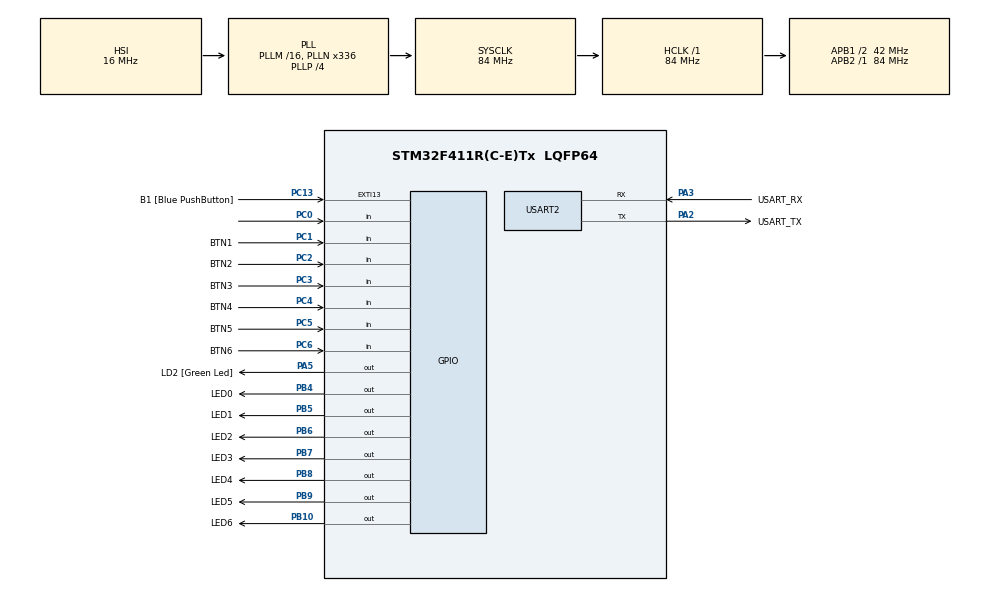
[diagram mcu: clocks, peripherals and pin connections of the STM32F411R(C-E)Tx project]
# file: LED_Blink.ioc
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Mcu.Family=STM32F4
Mcu.Name=STM32F411R(C-E)Tx
Mcu.Package=LQFP64
NVIC.PriorityGroup=NVIC_PRIORITYGROUP_0
PA13.GPIO_Label=TMS
PA13.Mode=Serial_Wire
PA13.Signal=SYS_JTMS-SWDIO
PA14.GPIO_Label=TCK
PA14.Mode=Serial_Wire
PA14.Signal=SYS_JTCK-SWCLK
PA2.GPIO_Label=USART_TX
PA2.Mode=Asynchronous
PA2.Signal=USART2_TX
PA3.GPIO_Label=USART_RX
PA3.Mode=Asynchronous
PA3.Signal=USART2_RX
PA5.GPIO_Label=LD2 [Green Led]
PA5.Signal=GPIO_Output
PB10.GPIO_Label=LED6
PB10.Signal=GPIO_Output
PB3.GPIO_Label=SWO
PB3.Signal=SYS_JTDO-SWO
PB4.GPIO_Label=LED0
PB4.Signal=GPIO_Output
PB5.GPIO_Label=LED1
PB5.Signal=GPIO_Output
PB6.GPIO_Label=LED2
PB6.Signal=GPIO_Output
PB7.GPIO_Label=LED3
PB7.Signal=GPIO_Output
PB8.GPIO_Label=LED4
PB8.Signal=GPIO_Output
PB9.GPIO_Label=LED5
PB9.Signal=GPIO_Output
PC0.Signal=GPIO_Input
PC1.GPIO_Label=BTN1
PC1.Signal=GPIO_Input
PC13-ANTI_TAMP.GPIO_Label=B1 [Blue PushButton]
PC13-ANTI_TAMP.GPIO_ModeDefaultEXTI=GPIO_MODE_IT_FALLING
PC13-ANTI_TAMP.Signal=GPXTI13
PC14-OSC32_IN.Signal=RCC_OSC32_IN
PC15-OSC32_OUT.Signal=RCC_OSC32_OUT
PC2.GPIO_Label=BTN2
PC2.Signal=GPIO_Input
PC3.GPIO_Label=BTN3
PC3.Signal=GPIO_Input
PC4.GPIO_Label=BTN4
PC4.Signal=GPIO_Input
PC5.GPIO_Label=BTN5
PC5.Signal=GPIO_Input
PC6.GPIO_Label=BTN6
PC6.Signal=GPIO_Input
PH0\ -\ OSC_IN.Signal=RCC_OSC_IN
PH1\ -\ OSC_OUT.Signal=RCC_OSC_OUT
ProjectManager.HeapSize=0x200
ProjectManager.StackSize=0x400
ProjectManager.TargetToolchain=STM32CubeIDE
RCC.48MHZClocksFreq_Value=84000000
RCC.AHBFreq_Value=84000000
RCC.APB1CLKDivider=RCC_HCLK_DIV2
RCC.APB1Freq_Value=42000000
RCC.APB1TimFreq_Value=84000000
RCC.APB2Freq_Value=84000000
RCC.APB2TimFreq_Value=84000000
RCC.CortexFreq_Value=84000000
RCC.FLatency-AdvancedSettings=FLASH_LATENCY_2
RCC.HCLKFreq_Value=84000000
RCC.HSE_VALUE=8000000
RCC.HSI_VALUE=16000000
RCC.LSE_VALUE=32768
RCC.PLLN=336
RCC.PLLP=RCC_PLLP_DIV4
RCC.SYSCLKFreq_VALUE=84000000
RCC.SYSCLKSource=RCC_SYSCLKSOURCE_PLLCLK
RCC.VCOOutputFreq_Value=336000000
USART2.VirtualMode=VM_ASYNC
board=NUCLEO-F411RE

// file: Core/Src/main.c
/* USER CODE BEGIN Header */
/**
  ******************************************************************************
  * @file           : main.c
  * @brief          : Main program body
  ******************************************************************************
  * @attention
  *
  * Copyright (c) 2025 STMicroelectronics.
  * All rights reserved.
  *
  * This software is licensed under terms that can be found in the LICENSE file
  * in the root directory of this software component.
  * If no LICENSE file comes with this software, it is provided AS-IS.
  *
  ******************************************************************************
  */
/* USER CODE END Header */
#include "main.h"

/* USER CODE BEGIN Includes */
#include <stdio.h>
/* USER CODE END Includes */

/* USER CODE BEGIN PTD */
#define LOW 0
#define HIGH 1
/* USER CODE END PTD */

/* USER CODE BEGIN PD */
#ifdef __GNUC__
/* With GCC, small printf (option LD Linker->Libraries->Small printf
   set to 'Yes') calls __io_putchar() */
#define PUTCHAR_PROTOTYPE int __io_putchar(int ch)
#else
#define PUTCHAR_PROTOTYPE int fputc(int ch, FILE *f)
#endif /* __GNUC__ */

/* USER CODE END PD */

UART_HandleTypeDef huart2;

void SystemClock_Config(void);
static void MX_GPIO_Init(void);
static void MX_USART2_UART_Init(void);

int main(void)
{

  /* USER CODE BEGIN 1 */
	int buttonState[7];
	int buttonStateOld[7] = {0,};

	//int buttonState = 0;
	//int buttonStateOld = 0;

	int buttonFlag[7]={0,};
	//int buttonFlag = 0;

	//char GPIO_Pin[7];
	//char * GPIO_Pin[7];

	int cnt = 0;
  /* USER CODE END 1 */

  /* MCU Configuration--------------------------------------------------------*/

  /* Reset of all peripherals, Initializes the Flash interface and the Systick. */
  HAL_Init();

  /* Configure the system clock */
  SystemClock_Config();

  /* Initialize all configured peripherals */
  MX_GPIO_Init();
  MX_USART2_UART_Init();
  /* USER CODE BEGIN 2 */
  printf("main() start!! \r\n");
  /* USER CODE END 2 */

  /* Infinite loop */
  /* USER CODE BEGIN WHILE */
  while (1)
  {
#if 0
	  HAL_GPIO_WritePin(GPIOA , GPIO_PIN_5, GPIO_PIN_SET);
	  HAL_Delay(1000);
	  HAL_GPIO_WritePin(GPIOA , GPIO_PIN_5, GPIO_PIN_RESET);
	  HAL_Delay(1000);
#endif
#if 0
	  HAL_GPIO_TogglePin(LD2_GPIO_Port, LD2_Pin);
  	  HAL_Delay(1000);
#endif
#if 0
  	  button_state = HAL_GPIO_ReadPin(GPIOC, GPIO_PIN_13);
  	  HAL_GPIO_WritePin(GPIOA , GPIO_PIN_5, !button_state);
#endif
#if 1
//과제 코드
  	  //buttonState = !(HAL_GPIO_ReadPin(GPIOC, GPIO_PIN_13));

  	  /*
  	  GPIO_Pin[0] = "GPIO_PIN_0";
  	  GPIO_Pin[1] = "GPIO_PIN_1";
  	  GPIO_Pin[2] = "GPIO_PIN_2";
  	  GPIO_Pin[3] = "GPIO_PIN_3";
  	  GPIO_Pin[4] = "GPIO_PIN_4";
  	  GPIO_Pin[5] = "GPIO_PIN_5";
  	  GPIO_Pin[6] = "GPIO_PIN_6";
  	  */

   	  uint16_t GPIO_Pin[] = {
          GPIO_PIN_0,
          GPIO_PIN_1,
          GPIO_PIN_2,
          GPIO_PIN_3,
          GPIO_PIN_4,
          GPIO_PIN_5,
          GPIO_PIN_6
      };

      uint16_t LED_Pin[] = {
    		  GPIO_PIN_4,
    		  GPIO_PIN_5,
    		  GPIO_PIN_6,
    		  GPIO_PIN_7,
    		  GPIO_PIN_8,
    		  GPIO_PIN_9,
    		  GPIO_PIN_10
      };

  	  /*
  	  for (int i = 0; i<6; i++)
  	  {
  		  sprintf(char * GPIO_Pin, "GPIO_PIN_&d", i);
  	  	GPIO_Pin++;
  	  }
  	  */
      /*
      char* buttonState[] = {
    		  "!(HAL_GPIO_ReadPin(GPIOC, GPIO_PIN_0))",
    		  "!(HAL_GPIO_ReadPin(GPIOC, GPIO_PIN_1))",
    		  "!(HAL_GPIO_ReadPin(GPIOC, GPIO_PIN_2))",
    		  "!(HAL_GPIO_ReadPin(GPIOC, GPIO_PIN_3))",
    		  "!(HAL_GPIO_ReadPin(GPIOC, GPIO_PIN_4))",
    		  "!(HAL_GPIO_ReadPin(GPIOC, GPIO_PIN_5))",
    		  "!(HAL_GPIO_ReadPin(GPIOC, GPIO_PIN_6))"
      };
      */
      /*
  	  buttonState[0] = !(HAL_GPIO_ReadPin(GPIOC, GPIO_PIN_0));
  	  buttonState[1] = !(HAL_GPIO_ReadPin(GPIOC, GPIO_PIN_1));
  	  buttonState[2] = !(HAL_GPIO_ReadPin(GPIOC, GPIO_PIN_2));
  	  buttonState[3] = !(HAL_GPIO_ReadPin(GPIOC, GPIO_PIN_3));
  	  buttonState[4] = !(HAL_GPIO_ReadPin(GPIOC, GPIO_PIN_4));
  	  buttonState[5] = !(HAL_GPIO_ReadPin(GPIOC, GPIO_PIN_5));
  	  buttonState[6] = !(HAL_GPIO_ReadPin(GPIOC, GPIO_PIN_6));

 */

  	  for (int i = 0; i < 7; i++)
  	  {
  		buttonState[i] = HAL_GPIO_ReadPin(GPIOC, GPIO_Pin[i]);
  	  }

  	  for (int i = 0; i < 7; i++)
  	  {
		  if(buttonState[i] != buttonStateOld[i])
		  {
			  if(buttonState[i])   //버턴이 On일때
			  {
				buttonFlag[i] = !buttonFlag[i];   //Toggle
				printf("buttonFlag[%d] : %d\r\n", i, buttonFlag[i]);
				// check if the pushbutton is pressed. If it is, the buttonState is HIGH:
				if (buttonFlag[i] == HIGH) {
				  // turn LED on:
					HAL_GPIO_WritePin(GPIOB , LED_Pin[i], GPIO_PIN_SET);
				} else {
				  // turn LED off:
					HAL_GPIO_WritePin(GPIOB , LED_Pin[i], GPIO_PIN_RESET);
				}
				printf("cnt : %d\r\n", cnt++);
			  }
			  buttonStateOld[i] = buttonState[i];
		  }
  	  }
#endif
#if 0
  	  if(buttonState[0] != buttonStateOld[0])
  	  {
		  if(buttonState[0])   //버턴이 On일때
		  {
			buttonFlag[0] = !buttonFlag[0];   //Toggle
			printf("buttonFlag[0] : %d\r\n", buttonFlag[0]);
			// check if the pushbutton is pressed. If it is, the buttonState is HIGH:
			if (buttonFlag[0] == HIGH) {
			  // turn LED on:
				HAL_GPIO_WritePin(GPIOB , LED_Pin[0], GPIO_PIN_SET);
			} else {
			  // turn LED off:
				HAL_GPIO_WritePin(GPIOB , LED_Pin[0], GPIO_PIN_RESET);
			}
			printf("cnt : %d\r\n", cnt++);
		  }
		  buttonStateOld[0] = buttonState[0];
  	  }
#endif

#if 0
  	  if(buttonState != buttonStateOld)   //버턴의 상태가 변경시
  	  {
		  if(buttonState)   //버턴이 On일때
		  {
			buttonFlag = !buttonFlag;   //Toggle
	//        Serial.print("buttonFlag : ");
	//        Serial.println(buttonFlag);
			printf("buttonFlag : %d\r\n", buttonFlag);
			// check if the pushbutton is pressed. If it is, the buttonState is HIGH:
			if (buttonFlag == HIGH) {
			  // turn LED on:
				HAL_GPIO_WritePin(GPIOA , GPIO_PIN_5, GPIO_PIN_SET);
	//          digitalWrite(ledPin, HIGH);
			} else {
			  // turn LED off:
	//          digitalWrite(ledPin, LOW);
				HAL_GPIO_WritePin(GPIOA , GPIO_PIN_5, GPIO_PIN_RESET);
			}
	//      Serial.print("cnt : ");
	//      Serial.println(cnt++);
			printf("cnt : %d\r\n", cnt++);
		  }
		  buttonStateOld = buttonState;
  	  }
#endif
    /* USER CODE END WHILE */

  }
}

void SystemClock_Config(void)
{
  RCC_OscInitTypeDef RCC_OscInitStruct = {0};
  RCC_ClkInitTypeDef RCC_ClkInitStruct = {0};

  /** Configure the main internal regulator output voltage
  */
  __HAL_RCC_PWR_CLK_ENABLE();
  __HAL_PWR_VOLTAGESCALING_CONFIG(PWR_REGULATOR_VOLTAGE_SCALE1);

  /** Initializes the RCC Oscillators according to the specified parameters
  * in the RCC_OscInitTypeDef structure.
  */
  RCC_OscInitStruct.OscillatorType = RCC_OSCILLATORTYPE_HSI;
  RCC_OscInitStruct.HSIState = RCC_HSI_ON;
  RCC_OscInitStruct.HSICalibrationValue = RCC_HSICALIBRATION_DEFAULT;
  RCC_OscInitStruct.PLL.PLLState = RCC_PLL_ON;
  RCC_OscInitStruct.PLL.PLLSource = RCC_PLLSOURCE_HSI;
  RCC_OscInitStruct.PLL.PLLM = 16;
  RCC_OscInitStruct.PLL.PLLN = 336;
  RCC_OscInitStruct.PLL.PLLP = RCC_PLLP_DIV4;
  RCC_OscInitStruct.PLL.PLLQ = 4;
  if (HAL_RCC_OscConfig(&RCC_OscInitStruct) != HAL_OK)
  {
    Error_Handler();
  }

  /** Initializes the CPU, AHB and APB buses clocks
  */
  RCC_ClkInitStruct.ClockType = RCC_CLOCKTYPE_HCLK|RCC_CLOCKTYPE_SYSCLK
                              |RCC_CLOCKTYPE_PCLK1|RCC_CLOCKTYPE_PCLK2;
  RCC_ClkInitStruct.SYSCLKSource = RCC_SYSCLKSOURCE_PLLCLK;
  RCC_ClkInitStruct.AHBCLKDivider = RCC_SYSCLK_DIV1;
  RCC_ClkInitStruct.APB1CLKDivider = RCC_HCLK_DIV2;
  RCC_ClkInitStruct.APB2CLKDivider = RCC_HCLK_DIV1;

  if (HAL_RCC_ClockConfig(&RCC_ClkInitStruct, FLASH_LATENCY_2) != HAL_OK)
  {
    Error_Handler();
  }
}

static void MX_USART2_UART_Init(void)
{

  huart2.Instance = USART2;
  huart2.Init.BaudRate = 115200;
  huart2.Init.WordLength = UART_WORDLENGTH_8B;
  huart2.Init.StopBits = UART_STOPBITS_1;
  huart2.Init.Parity = UART_PARITY_NONE;
  huart2.Init.Mode = UART_MODE_TX_RX;
  huart2.Init.HwFlowCtl = UART_HWCONTROL_NONE;
  huart2.Init.OverSampling = UART_OVERSAMPLING_16;
  if (HAL_UART_Init(&huart2) != HAL_OK)
  {
    Error_Handler();
  }

}

static void MX_GPIO_Init(void)
{
  GPIO_InitTypeDef GPIO_InitStruct = {0};

  /* GPIO Ports Clock Enable */
  __HAL_RCC_GPIOC_CLK_ENABLE();
  __HAL_RCC_GPIOH_CLK_ENABLE();
  __HAL_RCC_GPIOA_CLK_ENABLE();
  __HAL_RCC_GPIOB_CLK_ENABLE();

  /*Configure GPIO pin Output Level */
  HAL_GPIO_WritePin(LD2_GPIO_Port, LD2_Pin, GPIO_PIN_RESET);

  /*Configure GPIO pin Output Level */
  HAL_GPIO_WritePin(GPIOB, LED6_Pin|LED0_Pin|LED1_Pin|LED2_Pin
                          |LED3_Pin|LED4_Pin|LED5_Pin, GPIO_PIN_RESET);

  /*Configure GPIO pin : B1_Pin */
  GPIO_InitStruct.Pin = B1_Pin;
  GPIO_InitStruct.Mode = GPIO_MODE_IT_FALLING;
  GPIO_InitStruct.Pull = GPIO_NOPULL;
  HAL_GPIO_Init(B1_GPIO_Port, &GPIO_InitStruct);

  /*Configure GPIO pins : PC0 BTN1_Pin BTN2_Pin BTN3_Pin
                           BTN4_Pin BTN5_Pin BTN6_Pin */
  GPIO_InitStruct.Pin = GPIO_PIN_0|BTN1_Pin|BTN2_Pin|BTN3_Pin
                          |BTN4_Pin|BTN5_Pin|BTN6_Pin;
  GPIO_InitStruct.Mode = GPIO_MODE_INPUT;
  GPIO_InitStruct.Pull = GPIO_NOPULL;
  HAL_GPIO_Init(GPIOC, &GPIO_InitStruct);

  /*Configure GPIO pin : LD2_Pin */
  GPIO_InitStruct.Pin = LD2_Pin;
  GPIO_InitStruct.Mode = GPIO_MODE_OUTPUT_PP;
  GPIO_InitStruct.Pull = GPIO_NOPULL;
  GPIO_InitStruct.Speed = GPIO_SPEED_FREQ_LOW;
  HAL_GPIO_Init(LD2_GPIO_Port, &GPIO_InitStruct);

  /*Configure GPIO pins : LED6_Pin LED0_Pin LED1_Pin LED2_Pin
                           LED3_Pin LED4_Pin LED5_Pin */
  GPIO_InitStruct.Pin = LED6_Pin|LED0_Pin|LED1_Pin|LED2_Pin
                          |LED3_Pin|LED4_Pin|LED5_Pin;
  GPIO_InitStruct.Mode = GPIO_MODE_OUTPUT_PP;
  GPIO_InitStruct.Pull = GPIO_NOPULL;
  GPIO_InitStruct.Speed = GPIO_SPEED_FREQ_LOW;
  HAL_GPIO_Init(GPIOB, &GPIO_InitStruct);

}

/* USER CODE BEGIN 4 */
/**
  * @brief  Retargets the C library printf function to the USART.
  * @param  None
  * @retval None
  */
PUTCHAR_PROTOTYPE
{
  /* Place your implementation of fputc here */
  /* e.g. write a character to the USART6 and Loop until the end of transmission */
  HAL_UART_Transmit(&huart2, (uint8_t *)&ch, 1, 0xFFFF);

  return ch;
}

/* USER CODE END 4 */

void Error_Handler(void)
{
  __disable_irq();
  while (1)
  {
  }
}
